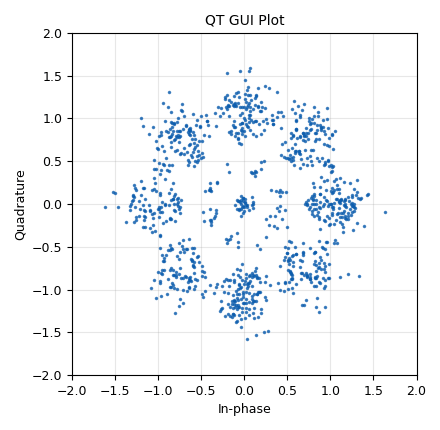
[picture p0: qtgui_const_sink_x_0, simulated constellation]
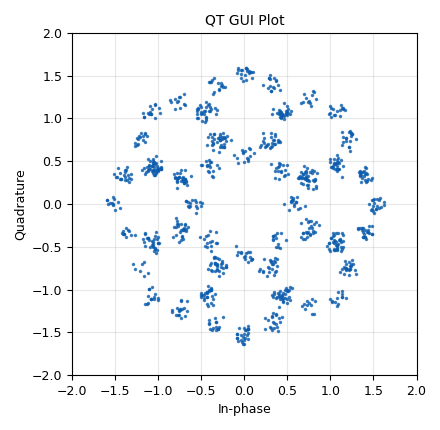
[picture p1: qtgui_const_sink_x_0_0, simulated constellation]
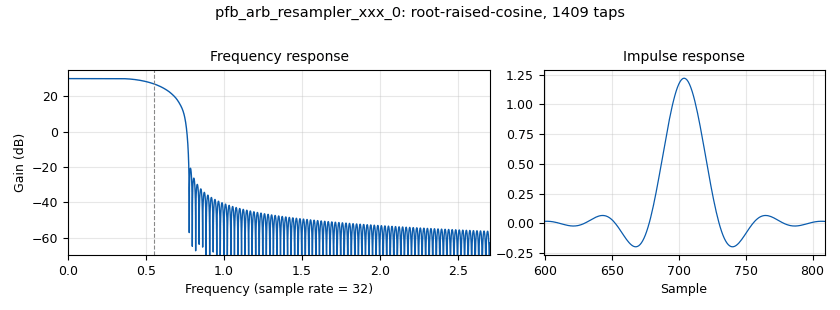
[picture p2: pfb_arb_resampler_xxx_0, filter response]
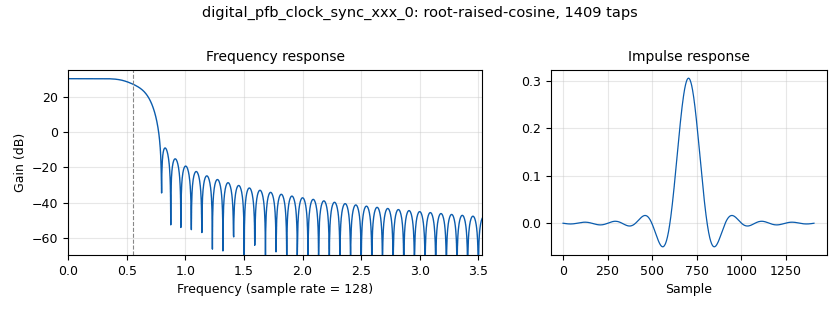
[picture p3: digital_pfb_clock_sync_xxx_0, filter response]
<?xml version='1.0' encoding='utf-8'?>
<flow_graph>
<block>
<key>options</key>
<param><key>id</key><value>top_block</value></param>
<param><key>generate_options</key><value>qt_gui</value></param>
<param><key>category</key><value>Custom</value></param>
</block>
<block>
<key>variable</key>
<param><key>id</key><value>excess_bw</value></param>
<param><key>value</key><value>0.4</value></param>
</block>
<block>
<key>variable</key>
<param><key>id</key><value>const_points</value></param>
<param><key>value</key><value>8</value></param>
</block>
<block>
<key>variable</key>
<param><key>id</key><value>timing_bw</value></param>
<param><key>value</key><value>2*pi/100</value></param>
</block>
<block>
<key>variable</key>
<param><key>id</key><value>freq_bw</value></param>
<param><key>value</key><value>2*pi/100</value></param>
</block>
<block>
<key>variable</key>
<param><key>id</key><value>ntaps</value></param>
<param><key>value</key><value>11*nfilts*sps</value></param>
</block>
<block>
<key>variable</key>
<param><key>id</key><value>sps</value></param>
<param><key>value</key><value>4</value></param>
</block>
<block>
<key>variable</key>
<param><key>id</key><value>samp_rate</value></param>
<param><key>value</key><value>80000</value></param>
</block>
<block>
<key>variable</key>
<param><key>id</key><value>nfilts</value></param>
<param><key>value</key><value>32</value></param>
</block>
<block>
<key>variable</key>
<param><key>id</key><value>rx_taps</value></param>
<param><key>value</key><value>firdes.root_raised_cosine(nfilts,nfilts*sps,1.1,excess_bw,ntaps)</value></param>
</block>
<block>
<key>variable</key>
<param><key>id</key><value>tx_taps</value></param>
<param><key>value</key><value>firdes.root_raised_cosine(nfilts,nfilts,1.1,excess_bw,ntaps)</value></param>
</block>
<block>
<key>import</key>
<param><key>id</key><value>import_0</value></param>
<param><key>import</key><value>from math import pi</value></param>
</block>
<block>
<key>import</key>
<param><key>id</key><value>import_0_0</value></param>
<param><key>import</key><value>from gnuradio import digital</value></param>
</block>
<block>
<key>import</key>
<param><key>id</key><value>import_0_1</value></param>
<param><key>import</key><value>from gnuradio import filter</value></param>
</block>
<block>
<key>analog_random_source_x</key>
<param><key>id</key><value>analog_random_source_x_0</value></param>
<param><key>type</key><value>byte</value></param>
<param><key>min</key><value>0</value></param>
<param><key>max</key><value>8</value></param>
<param><key>num_samps</key><value>1000</value></param>
<param><key>repeat</key><value>True</value></param>
</block>
<block>
<key>blocks_throttle</key>
<param><key>id</key><value>blocks_throttle_0</value></param>
<param><key>type</key><value>complex</value></param>
<param><key>samples_per_second</key><value>samp_rate</value></param>
</block>
<block>
<key>blocks_delay</key>
<param><key>id</key><value>blocks_delay_0</value></param>
<param><key>type</key><value>complex</value></param>
<param><key>delay</key><value>4</value></param>
</block>
<block>
<key>blocks_multiply_const_vxx</key>
<param><key>id</key><value>blocks_multiply_const_vxx_0</value></param>
<param><key>type</key><value>complex</value></param>
<param><key>const</key><value>0.5</value></param>
</block>
<block>
<key>blocks_add_xx</key>
<param><key>id</key><value>blocks_add_xx_0</value></param>
<param><key>type</key><value>complex</value></param>
</block>
<block>
<key>digital_chunks_to_symbols_xx</key>
<param><key>id</key><value>digital_chunks_to_symbols_xx_0_0</value></param>
<param><key>in_type</key><value>byte</value></param>
<param><key>out_type</key><value>complex</value></param>
<param><key>symbol_table</key><value>((0.707-0.707j),(0.707+0.707j),(-0.707+0.707j),(-0.707-0.707j),(0-1j),(0+1j),(-1+0j),(1+0j))</value></param>
<param><key>dimension</key><value>1</value></param>
</block>
<block>
<key>pfb_arb_resampler_xxx</key>
<param><key>id</key><value>pfb_arb_resampler_xxx_0</value></param>
<param><key>type</key><value>ccf</value></param>
<param><key>rrate</key><value>sps</value></param>
<param><key>taps</key><value>tx_taps</value></param>
<param><key>nfilts</key><value>32</value></param>
<param><key>atten</key><value>100</value></param>
</block>
<block>
<key>qtgui_const_sink_x</key>
<param><key>id</key><value>qtgui_const_sink_x_0</value></param>
<param><key>type</key><value>complex</value></param>
<param><key>name</key><value>QT GUI Plot</value></param>
<param><key>size</key><value>1024</value></param>
</block>
<block>
<key>digital_pfb_clock_sync_xxx</key>
<param><key>id</key><value>digital_pfb_clock_sync_xxx_0</value></param>
<param><key>type</key><value>ccf</value></param>
<param><key>sps</key><value>sps</value></param>
<param><key>loop_bw</key><value>timing_bw</value></param>
<param><key>taps</key><value>rx_taps</value></param>
<param><key>filter_size</key><value>nfilts</value></param>
<param><key>init_phase</key><value>16</value></param>
<param><key>max_dev</key><value>1.5</value></param>
<param><key>osps</key><value>1</value></param>
</block>
<block>
<key>qtgui_const_sink_x</key>
<param><key>id</key><value>qtgui_const_sink_x_0_0</value></param>
<param><key>type</key><value>complex</value></param>
<param><key>name</key><value>QT GUI Plot</value></param>
<param><key>size</key><value>1024</value></param>
</block>
<connection><source_block_id>pfb_arb_resampler_xxx_0</source_block_id><sink_block_id>blocks_throttle_0</sink_block_id><source_key>0</source_key><sink_key>0</sink_key></connection>
<connection><source_block_id>digital_chunks_to_symbols_xx_0_0</source_block_id><sink_block_id>pfb_arb_resampler_xxx_0</sink_block_id><source_key>0</source_key><sink_key>0</sink_key></connection>
<connection><source_block_id>blocks_delay_0</source_block_id><sink_block_id>blocks_multiply_const_vxx_0</sink_block_id><source_key>0</source_key><sink_key>0</sink_key></connection>
<connection><source_block_id>blocks_add_xx_0</source_block_id><sink_block_id>digital_pfb_clock_sync_xxx_0</sink_block_id><source_key>0</source_key><sink_key>0</sink_key></connection>
<connection><source_block_id>analog_random_source_x_0</source_block_id><sink_block_id>digital_chunks_to_symbols_xx_0_0</sink_block_id><source_key>0</source_key><sink_key>0</sink_key></connection>
<connection><source_block_id>blocks_throttle_0</source_block_id><sink_block_id>blocks_delay_0</sink_block_id><source_key>0</source_key><sink_key>0</sink_key></connection>
<connection><source_block_id>blocks_throttle_0</source_block_id><sink_block_id>blocks_add_xx_0</sink_block_id><source_key>0</source_key><sink_key>0</sink_key></connection>
<connection><source_block_id>blocks_multiply_const_vxx_0</source_block_id><sink_block_id>blocks_add_xx_0</sink_block_id><source_key>0</source_key><sink_key>1</sink_key></connection>
<connection><source_block_id>pfb_arb_resampler_xxx_0</source_block_id><sink_block_id>qtgui_const_sink_x_0</sink_block_id><source_key>0</source_key><sink_key>0</sink_key></connection>
<connection><source_block_id>digital_pfb_clock_sync_xxx_0</source_block_id><sink_block_id>qtgui_const_sink_x_0_0</sink_block_id><source_key>0</source_key><sink_key>0</sink_key></connection>
</flow_graph>
